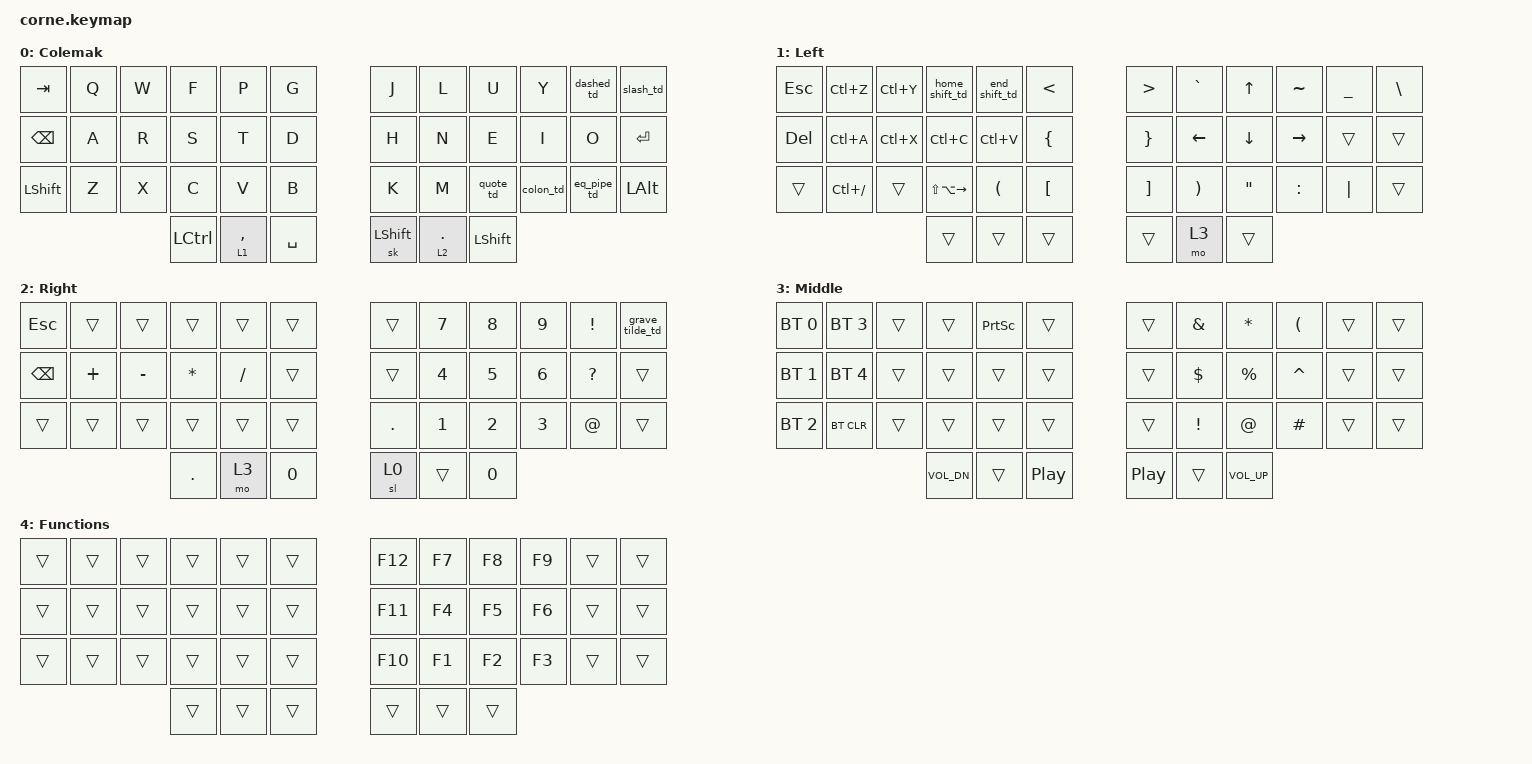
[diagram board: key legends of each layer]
/*
 * Copyright (c) 2020 The ZMK Contributors
 *
 * SPDX-License-Identifier: MIT
 */

#include <behaviors.dtsi>
#include <dt-bindings/zmk/bt.h>
#include <dt-bindings/zmk/keys.h>

&sk {
    release-after-ms = <2000>;
    quick-release;
};

/ {
    combos {
        compatible = "zmk,combos";

        functions_layer {
            bindings = <&sl 4>;
            key-positions = <14 15 16 13>;
        };

        gui {
            bindings = <&kp LEFT_GUI>;
            key-positions = <24 25>;
        };

        sleep {
            bindings = <&kp LG(L)>;
            key-positions = <11 10>;
        };

        awake {
            bindings = <&kp LC(LA(DEL))>;
            key-positions = <23 22>;
        };
    };

    behaviors {
        home_shift_td: home_shift_td {
            compatible = "zmk,behavior-tap-dance";
            label = "HOME_SHIFT_TD";
            #binding-cells = <0>;
            bindings = <&kp HOME>, <&kp LS(HOME)>;

            tapping-term-ms = <300>;
        };

        end_shift_td: end_shift_td {
            compatible = "zmk,behavior-tap-dance";
            label = "END_SHIFT_TD";
            #binding-cells = <0>;
            bindings = <&kp END>, <&kp LS(END)>;

            tapping-term-ms = <300>;
        };

        grave_tilde_td: grave_tilde_td {
            compatible = "zmk,behavior-tap-dance";
            label = "GRAVE_TILDE_TD";
            #binding-cells = <0>;
            bindings = <&kp GRAVE>, <&kp TILDE>;

            tapping-term-ms = <300>;
        };

        dashed_td: dashed_td {
            compatible = "zmk,behavior-tap-dance";
            label = "DASHED_TD";
            #binding-cells = <0>;
            bindings = <&kp MINUS>, <&kp UNDERSCORE>;

            tapping-term-ms = <300>;
        };

        slash_td: slash_td {
            compatible = "zmk,behavior-tap-dance";
            label = "SLASH_TD";
            #binding-cells = <0>;
            bindings = <&kp SLASH>, <&kp BACKSLASH>;

            tapping-term-ms = <300>;
        };

        quote_td: quote_td {
            compatible = "zmk,behavior-tap-dance";
            label = "QUOTE_TD";
            #binding-cells = <0>;
            bindings = <&kp SQT>, <&kp DOUBLE_QUOTES>;

            tapping-term-ms = <300>;
        };

        colon_td: colon_td {
            compatible = "zmk,behavior-tap-dance";
            label = "COLON_TD";
            #binding-cells = <0>;
            bindings = <&kp SEMICOLON>, <&kp COLON>;

            tapping-term-ms = <300>;
        };

        eq_pipe_td: eq_pipe_td {
            compatible = "zmk,behavior-tap-dance";
            label = "EQ_PIPE_TD";
            #binding-cells = <0>;
            bindings = <&kp EQUAL>, <&kp PIPE>;

            tapping-term-ms = <300>;
        };
    };

    keymap {
        compatible = "zmk,keymap";

        colemak_layer {
            // -----------------------------------------------------------------------------------------
            // |  TAB |  Q  |  W  |  E  |  R  |  T  |   |  Y  |  U   |  I  |  O  |  P  | BKSP |
            // | CTRL |  A  |  S  |  D  |  F  |  G  |   |  H  |  J   |  K  |  L  |  ;  |  '   |
            // | SHFT |  Z  |  X  |  C  |  V  |  B  |   |  N  |  M   |  ,  |  .  |  /  | ESC  |
            //                    | GUI | LWR | SPC |   | ENT | RSE  | ALT |

            label = "Colemak";
            bindings = <
&kp TAB        &kp Q  &kp W  &kp F      &kp P        &kp G        &kp J      &kp L      &kp U           &kp Y      &dashed_td   &slash_td
&kp BACKSPACE  &kp A  &kp R  &kp S      &kp T        &kp D        &kp H      &kp N      &kp E           &kp I      &kp O        &kp ENTER
&kp LSHIFT     &kp Z  &kp X  &kp C      &kp V        &kp B        &kp K      &kp M      &quote_td       &colon_td  &eq_pipe_td  &kp LALT
                             &kp LCTRL  &lt 1 COMMA  &kp SPACE    &sk LSHFT  &lt 2 DOT  &kp LEFT_SHIFT
            >;
        };

        left_layer {
            // -----------------------------------------------------------------------------------------
            // |  TAB |  1  |  2  |  3  |  4  |  5  |   |  6  |  7  |  8  |  9  |  0  | BKSP |
            // | BTCLR| BT1 | BT2 | BT3 | BT4 | BT5 |   | LFT | DWN |  UP | RGT |     |      |
            // | SHFT |     |     |     |     |     |   |     |     |     |     |     |      |
            //                    |BTCLR|     | SPC |   | ENT |     | ALT |

            label = "Left";
            bindings = <
&kp ESC  &kp LC(Z)      &kp LC(Y)  &home_shift_td     &end_shift_td  &kp LT      &kp GT    &kp GRAVE  &kp UP             &kp TILDE  &kp UNDERSCORE  &kp BACKSLASH
&kp DEL  &kp LC(A)      &kp LC(X)  &kp LC(C)          &kp LC(V)      &kp LBRC    &kp RBRC  &kp LEFT   &kp DOWN           &kp RIGHT  &trans          &trans
&trans   &kp LC(SLASH)  &trans     &kp LS(LA(RIGHT))  &kp LPAR       &kp LBKT    &kp RBKT  &kp RPAR   &kp DOUBLE_QUOTES  &kp COLON  &kp PIPE        &trans
                                   &trans             &trans         &trans      &trans    &mo 3      &trans
            >;
        };

        right_layer {
            bindings = <
&kp ESC        &trans    &trans     &trans        &trans     &trans    &trans   &kp N7  &kp N8  &kp N9  &kp EXCLAMATION  &grave_tilde_td
&kp BACKSPACE  &kp PLUS  &kp MINUS  &kp ASTERISK  &kp SLASH  &trans    &trans   &kp N4  &kp N5  &kp N6  &kp QUESTION     &trans
&trans         &trans    &trans     &trans        &trans     &trans    &kp DOT  &kp N1  &kp N2  &kp N3  &kp AT           &trans
                                    &kp DOT       &mo 3      &kp N0    &sl 0    &trans  &kp N0
            >;

            label = "Right";
        };

        middle_layer {
            label = "Middle";
            bindings = <
&bt BT_SEL 0  &bt BT_SEL 3  &trans  &trans        &kp PSCRN  &trans      &trans    &kp AMPERSAND    &kp ASTERISK  &kp LPAR   &trans  &trans
&bt BT_SEL 1  &bt BT_SEL 4  &trans  &trans        &trans     &trans      &trans    &kp DOLLAR       &kp PERCENT   &kp CARET  &trans  &trans
&bt BT_SEL 2  &bt BT_CLR    &trans  &trans        &trans     &trans      &trans    &kp EXCLAMATION  &kp AT        &kp HASH   &trans  &trans
                                    &kp C_VOL_DN  &trans     &kp C_PP    &kp C_PP  &trans           &kp C_VOL_UP
            >;
        };

        functions_layer {
            bindings = <
&trans  &trans  &trans  &trans  &trans  &trans    &kp F12  &kp F7  &kp F8  &kp F9  &trans  &trans
&trans  &trans  &trans  &trans  &trans  &trans    &kp F11  &kp F4  &kp F5  &kp F6  &trans  &trans
&trans  &trans  &trans  &trans  &trans  &trans    &kp F10  &kp F1  &kp F2  &kp F3  &trans  &trans
                        &trans  &trans  &trans    &trans   &trans  &trans
            >;

            label = "Functions";
        };
    };
};
